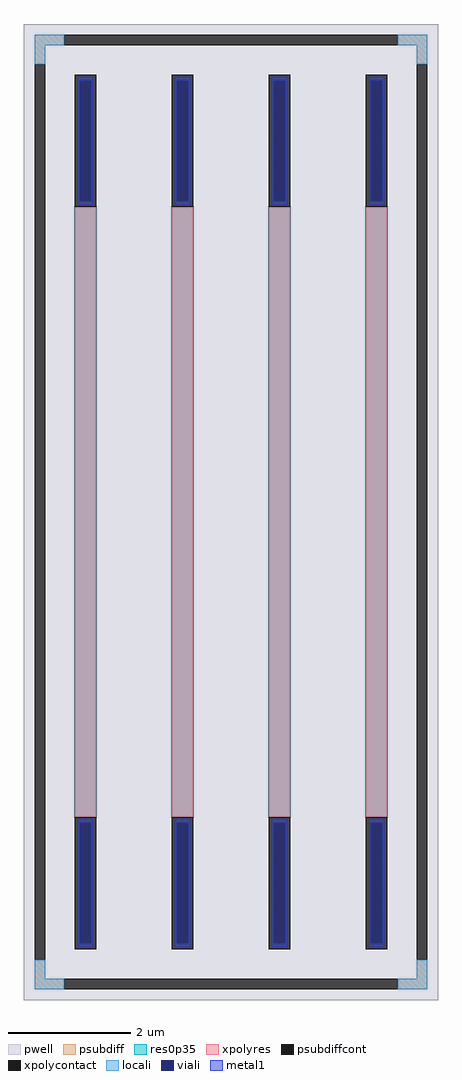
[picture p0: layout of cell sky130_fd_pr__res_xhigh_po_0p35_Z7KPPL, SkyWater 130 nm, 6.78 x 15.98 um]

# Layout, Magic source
magic
tech sky130A
magscale 1 2
<< pwell >>
rect -678 -1598 678 1598
<< psubdiff >>
rect -642 1528 -546 1562
rect 546 1528 642 1562
rect -642 1466 -608 1528
rect 608 1466 642 1528
rect -642 -1528 -608 -1466
rect 608 -1528 642 -1466
rect -642 -1562 -546 -1528
rect 546 -1562 642 -1528
<< psubdiffcont >>
rect -546 1528 546 1562
rect -642 -1466 -608 1466
rect 608 -1466 642 1466
rect -546 -1562 546 -1528
<< xpolycontact >>
rect -512 1000 -442 1432
rect -512 -1432 -442 -1000
rect -194 1000 -124 1432
rect -194 -1432 -124 -1000
rect 124 1000 194 1432
rect 124 -1432 194 -1000
rect 442 1000 512 1432
rect 442 -1432 512 -1000
<< xpolyres >>
rect -512 -1000 -442 1000
rect -194 -1000 -124 1000
rect 124 -1000 194 1000
rect 442 -1000 512 1000
<< locali >>
rect -642 1528 -546 1562
rect 546 1528 642 1562
rect -642 1466 -608 1528
rect 608 1466 642 1528
rect -642 -1528 -608 -1466
rect 608 -1528 642 -1466
rect -642 -1562 -546 -1528
rect 546 -1562 642 -1528
<< viali >>
rect -496 1017 -458 1414
rect -178 1017 -140 1414
rect 140 1017 178 1414
rect 458 1017 496 1414
rect -496 -1414 -458 -1017
rect -178 -1414 -140 -1017
rect 140 -1414 178 -1017
rect 458 -1414 496 -1017
<< metal1 >>
rect -502 1414 -452 1426
rect -502 1017 -496 1414
rect -458 1017 -452 1414
rect -502 1005 -452 1017
rect -184 1414 -134 1426
rect -184 1017 -178 1414
rect -140 1017 -134 1414
rect -184 1005 -134 1017
rect 134 1414 184 1426
rect 134 1017 140 1414
rect 178 1017 184 1414
rect 134 1005 184 1017
rect 452 1414 502 1426
rect 452 1017 458 1414
rect 496 1017 502 1414
rect 452 1005 502 1017
rect -502 -1017 -452 -1005
rect -502 -1414 -496 -1017
rect -458 -1414 -452 -1017
rect -502 -1426 -452 -1414
rect -184 -1017 -134 -1005
rect -184 -1414 -178 -1017
rect -140 -1414 -134 -1017
rect -184 -1426 -134 -1414
rect 134 -1017 184 -1005
rect 134 -1414 140 -1017
rect 178 -1414 184 -1017
rect 134 -1426 184 -1414
rect 452 -1017 502 -1005
rect 452 -1414 458 -1017
rect 496 -1414 502 -1017
rect 452 -1426 502 -1414
<< res0p35 >>
rect -514 -1002 -440 1002
rect -196 -1002 -122 1002
rect 122 -1002 196 1002
rect 440 -1002 514 1002
<< properties >>
string FIXED_BBOX -625 -1545 625 1545
string gencell sky130_fd_pr__res_xhigh_po_0p35
string library sky130
string parameters w 0.350 l 10 m 1 nx 4 wmin 0.350 lmin 0.50 rho 2000 val 58.218k dummy 0 dw 0.0 term 188.2 sterm 0.0 caplen 0 wmax 0.350 guard 1 glc 1 grc 1 gtc 1 gbc 1 compatible {sky130_fd_pr__res_xhigh_po_0p35  sky130_fd_pr__res_xhigh_po_0p69 sky130_fd_pr__res_xhigh_po_1p41  sky130_fd_pr__res_xhigh_po_2p85 sky130_fd_pr__res_xhigh_po_5p73} full_metal 1 n_guard 0 hv_guard 0 vias 1 viagb 0 viagt 0 viagl 0 viagr 0
<< end >>
